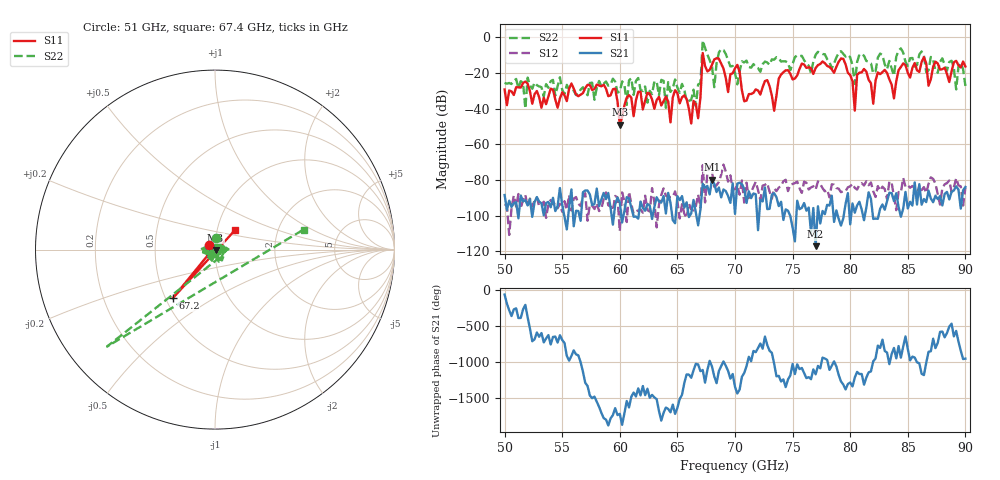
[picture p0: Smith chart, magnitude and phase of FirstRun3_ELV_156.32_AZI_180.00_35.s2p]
! 11/24/2026 3:42:27 PM
! C:\ANRITSUVNA\TEMP\TEMP.S2P
! CHANNEL.1
! TR.MEASUREMENT
! RAW.DATA
# HZ S RI R 50.0
! FREQ.HZ  S11RE  S11IM  S21RE  S21IM  S12RE  S12IM  S22RE  S22IM
!; PortSelection: Port_12
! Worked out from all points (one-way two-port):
!   201 points, 50 GHz to 90 GHz, reference 50 ohm
!   highest |S21| = -79.90 dB at 68 GHz (marker M1); lowest = -117.1 dB at 77 GHz (marker M2)
!   lowest |S11| = -48.9 dB at 60 GHz (marker M3), VSWR 1.01, Z = 50.3 - j0.163 ohm
!   |S11| at or under -10 dB: start of sweep to 67.19 GHz; 67.23 GHz to end of sweep
!   |S22| runs from -40.0 to -1.9 dB; largest |S21 - S12| = 0.00027
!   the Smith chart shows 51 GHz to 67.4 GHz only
!   S11 on the Smith chart (normalised r, x): 51 GHz: 0.94, +0.05; 67.2 GHz: 0.54, -0.34; 67.4 GHz: 1.22, +0.27
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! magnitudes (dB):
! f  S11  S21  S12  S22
! 50 GHz  -29.3  -88.4  -93.6  -25.6
! 51 GHz  -28.0  -92.5  -94.9  -23.4
! 51.8 GHz  -24.9  -91.3  -88.4  -40.0
! 52 GHz  -26.1  -94.3  -94.9  -22.6
! 56.8 GHz  -31.4  -86.9  -89.6  -28.1
! 59.6 GHz  -28.8  -93.7  -88.9  -25.0
! 60 GHz  -48.9  -92.6  -108.7  -30.5
! 63.4 GHz  -33.4  -92.1  -93.9  -32.6
! 66.8 GHz  -45.4  -105.4  -88.2  -26.5
! 67.2 GHz  -8.9  -82.1  -71.6  -1.9
! 67.4 GHz  -16.1  -84.3  -92.6  -5.9
! 68 GHz  -15.5  -79.9  -75.0  -16.1
! 70 GHz  -17.5  -99.0  -85.0  -19.9
! 73.4 GHz  -41.2  -87.4  -84.8  -12.6
! 74.2 GHz  -19.7  -102.4  -80.7  -13.5
! 76.8 GHz  -20.6  -95.7  -83.5  -13.6
! 77 GHz  -17.3  -117.1  -85.3  -9.9
! 79.4 GHz  -12.2  -101.5  -86.2  -9.4
! 80.4 GHz  -41.2  -98.3  -84.4  -26.2
! 80.6 GHz  -21.0  -94.2  -85.4  -14.0
! 83.4 GHz  -23.7  -87.1  -80.7  -13.3
! 90 GHz  -16.5  -83.9  -84.3  -27.3
